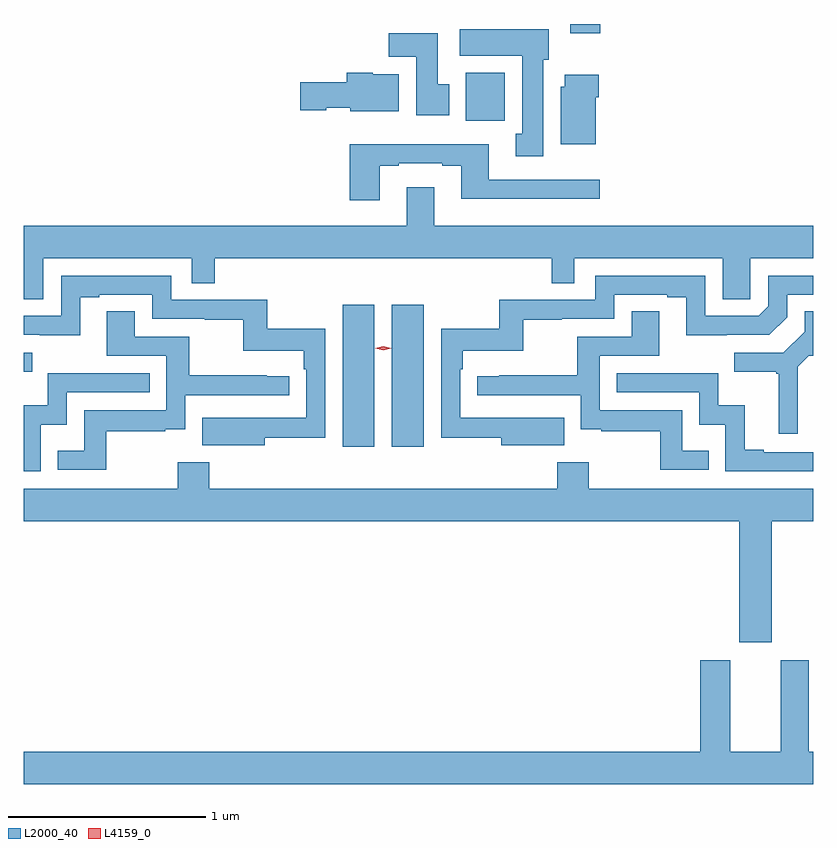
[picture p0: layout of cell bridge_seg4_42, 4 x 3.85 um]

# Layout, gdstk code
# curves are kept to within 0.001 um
import gdstk
lib = gdstk.Library(unit=1e-6, precision=1e-09)
def R(c, l, rs):  # rectangles x0, y0, x1, y1
    for r in rs: c.add(gdstk.rectangle(r[:2], r[2:], *l))
def P(c, l, *ps):  # polygons
    for p in ps: c.add(gdstk.Polygon(p, *l))
L2000_40 = (2000, 40)
L4159_0 = (4159, 0)

bridge_seg4_42 = lib.new_cell('bridge_seg4_42')
R(bridge_seg4_42, L2000_40, [(881.723,779.88,881.884,780.601), (881.972,779.88,882.133,780.601), (880.107,780.26,880.15,780.357), (882.347,781.532,882.544,781.774), (882.875,781.974,883.028,782.022)])
P(bridge_seg4_42, L2000_40, [(882.739,781.842),(882.766,781.842),(882.766,781.996),(882.315,781.996),(882.315,781.862),(882.632,781.862),(882.632,781.466),(882.599,781.466),(882.599,781.353),(882.739,781.353)],
  [(882.262,781.716),(882.205,781.716),(882.205,781.975),(881.956,781.975),(881.956,781.856),(882.095,781.856),(882.095,781.56),(882.262,781.56)],
  [(882.007,781.768),(881.874,781.768),(881.874,781.774),(881.744,781.774),(881.744,781.728),(881.508,781.728),(881.508,781.586),(881.64,781.586),(881.64,781.598),(881.76,781.598),(881.76,781.58),(882.007,781.58)],
  [(883.006,781.652),(883.019,781.652),(883.019,781.765),(882.848,781.765),(882.848,781.704),(882.827,781.704),(882.827,781.412),(883.006,781.412)],
  [(881.911,781.305),(882.007,781.305),(882.007,781.317),(882.227,781.317),(882.227,781.305),(882.323,781.305),(882.323,781.136),(883.024,781.136),(883.024,781.233),(882.463,781.233),(882.463,781.414),(881.759,781.414),(881.759,781.128),(881.911,781.128)],
  [(880.207,780.836),(880.959,780.836),(880.959,780.709),(881.075,780.709),(881.075,780.836),(882.781,780.836),(882.781,780.709),(882.897,780.709),(882.897,780.836),(883.649,780.836),(883.649,780.628),(883.788,780.628),(883.788,780.836),(884.107,780.836),(884.107,781),(882.187,781),(882.187,781.195),(882.047,781.195),(882.047,781),(880.107,781),(880.107,780.628),(880.207,780.628)],
  [(881.329,779.926),(881.634,779.926),(881.634,780.478),(881.341,780.478),(881.341,780.624),(880.854,780.624),(880.854,780.747),(880.296,780.747),(880.296,780.543),(880.107,780.543),(880.107,780.447),(880.188,780.447),(880.188,780.446),(880.393,780.446),(880.393,780.639),(880.489,780.639),(880.489,780.651),(880.758,780.651),(880.758,780.528),(881.023,780.528),(881.023,780.523),(881.22,780.523),(881.22,780.368),(881.525,780.368),(881.525,780.272),(881.538,780.272),(881.538,780.027),(881.225,780.027),(881.225,780.028),(881.011,780.028),(881.011,779.888),(881.329,779.888)],
  [(882.845,780.028),(882.318,780.027),(882.318,780.272),(882.332,780.272),(882.332,780.368),(882.637,780.368),(882.637,780.523),(882.833,780.523),(882.833,780.528),(883.098,780.528),(883.098,780.651),(883.367,780.651),(883.367,780.639),(883.463,780.639),(883.463,780.446),(883.884,780.447),(883.974,780.537),(883.974,780.651),(884.107,780.651),(884.107,780.747),(883.878,780.747),(883.878,780.591),(883.83,780.543),(883.56,780.543),(883.56,780.747),(883.002,780.747),(883.002,780.624),(882.516,780.624),(882.516,780.478),(882.222,780.478),(882.222,779.926),(882.527,779.926),(882.527,779.888),(882.845,779.888)],
  [(884.028,780.285),(884.085,780.342),(884.107,780.342),(884.107,780.566),(884.063,780.566),(884.063,780.464),(883.956,780.357),(883.707,780.357),(883.707,780.26),(883.92,780.26),(883.92,780.249),(883.931,780.249),(883.931,779.946),(884.028,779.946)],
  [(883.577,779.86),(883.443,779.86),(883.443,780.066),(883.026,780.066),(883.026,780.342),(883.327,780.342),(883.327,780.566),(883.187,780.566),(883.187,780.438),(882.91,780.438),(882.91,780.242),(882.517,780.242),(882.517,780.237),(882.405,780.237),(882.405,780.141),(882.93,780.141),(882.93,779.969),(883.033,779.969),(883.033,779.958),(883.332,779.958),(883.332,779.763),(883.577,779.763)],
  [(880.525,779.958),(880.823,779.958),(880.823,779.969),(880.926,779.969),(880.926,780.141),(881.452,780.141),(881.452,780.237),(881.339,780.237),(881.339,780.242),(880.946,780.242),(880.946,780.438),(880.669,780.438),(880.669,780.566),(880.529,780.566),(880.529,780.342),(880.83,780.342),(880.83,780.066),(880.414,780.066),(880.414,779.86),(880.279,779.86),(880.279,779.763),(880.525,779.763)],
  [(880.194,779.993),(880.326,779.993),(880.326,780.156),(880.745,780.156),(880.745,780.252),(880.23,780.252),(880.23,780.091),(880.107,780.091),(880.107,779.757),(880.194,779.757)],
  [(884.107,779.853),(883.855,779.853),(883.855,779.866),(883.759,779.866),(883.759,780.091),(883.626,780.091),(883.626,780.252),(883.111,780.252),(883.111,780.156),(883.53,780.156),(883.53,779.993),(883.662,779.993),(883.662,779.757),(884.107,779.757)],
  [(883.897,779.504),(884.107,779.504),(884.107,779.668),(882.969,779.668),(882.969,779.803),(882.809,779.803),(882.809,779.668),(881.048,779.668),(881.048,779.803),(880.888,779.803),(880.888,779.668),(880.107,779.668),(880.107,779.504),(883.733,779.504),(883.733,778.89),(883.897,778.89)],
  [(883.943,778.798),(883.943,778.336),(883.687,778.336),(883.687,778.798),(883.535,778.798),(883.535,778.336),(880.107,778.336),(880.107,778.172),(884.107,778.172),(884.107,778.336),(884.083,778.336),(884.083,778.798)])
P(bridge_seg4_42, L4159_0, [(881.928,780.37),(881.888,780.379),(881.888,780.38),(881.888,780.38),(881.928,780.39),(881.968,780.38),(881.968,780.38),(881.968,780.379)])

lib.write_gds('bridge_seg4_42.gds')
